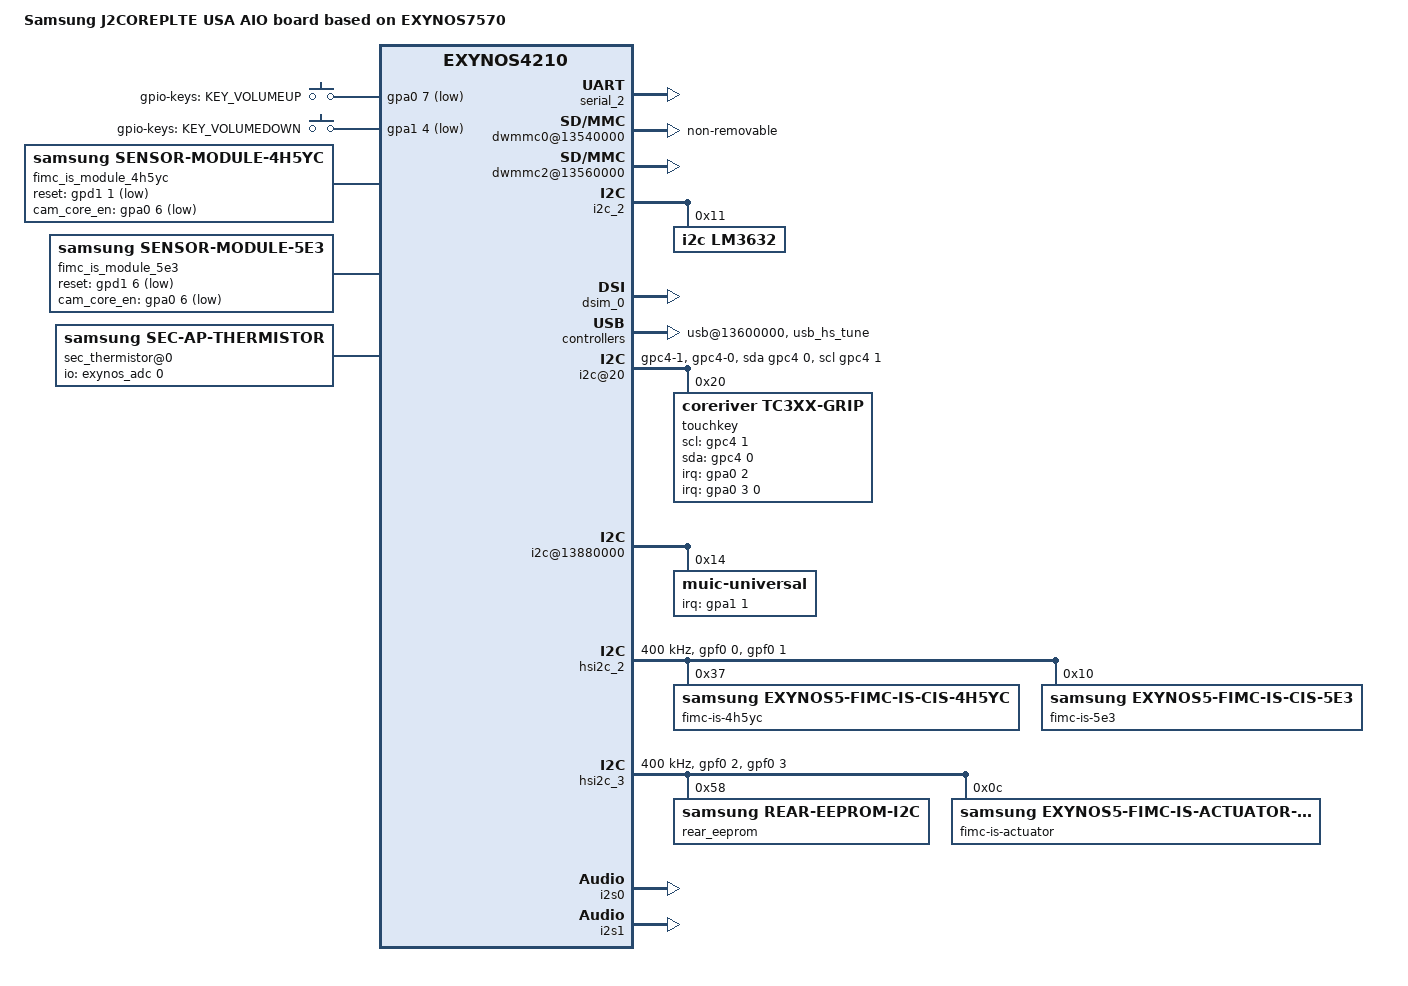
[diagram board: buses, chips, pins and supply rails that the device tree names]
/*
 * SAMSUNG UNIVERSAL7570 board device tree source
 *
 * Copyright (c) 2013 Samsung Electronics Co., Ltd.
 *		http://www.samsung.com
 *
 * This program is free software; you can redistribute it and/or modify
 * it under the terms of the GNU General Public License version 2 as
 * published by the Free Software Foundation.
*/

#include "exynos7570-rev01.dtsi"

/ {
	model = "Samsung J2COREPLTE USA AIO board based on EXYNOS7570";
	compatible = "samsung,exynos7570", "samsung,exynos4210";

	memory@40000000 {
		device_type = "memory";
		reg = <0x0 0x40000000 0x3E800000>;
	};

	memory@80000000 {
		device_type = "memory";
		reg = <0x0 0x80000000 0x40000000>;
	};

	chosen {
		bootargs = "console=ttySAC2,115200 clk_ignore_unused androidboot.hardware=samsungexynos7570 androidboot.selinux=disabled firmware_class.path=/vendor/firmware ess_setup=0x46000000 bcm_setup=0xffffff80f8e00000 androidboot.debug_level=0x4948 reserve-fimc=0";
		linux,initrd-start = <0x42000000>;
		linux,initrd-end = <0x421FFFFF>;
	};

	fixed-rate-clocks {
		oscclk {
			compatible = "samsung,exynos7570-oscclk";
			clock-frequency = <26000000>;
		};
	};

	serial_2: uart@13820000 {
		samsung,uart-logging;
		status = "okay";
	};

	firmware {
		android {
			compatible = "android,firmware";
			fstab {
				compatible = "android,fstab";
				system {
					compatible = "android,system";
					dev = "/dev/block/platform/13540000.dwmmc0/by-name/SYSTEM";
					type = "ext4";
					mnt_flags = "ro";
					fsmgr_flags = "wait,verify";
				};
				vendor {
					compatible = "android,vendor";
					dev = "/dev/block/platform/13540000.dwmmc0/by-name/VENDOR";
					type = "ext4";
					mnt_flags = "ro";
					fsmgr_flags = "wait,verify";
				};
				odm {
					compatible = "android,odm";
					dev = "/dev/block/platform/13540000.dwmmc0/by-name/ODM";
					type = "ext4";
					mnt_flags = "ro";
					fsmgr_flags = "wait,verify";
				};
			};
		};
	};

	dwmmc0@13540000 {
		status = "okay";
		num-slots = <1>;
		broken-card-detect;
		use-smu;
		fixed_voltage;
		supports-highspeed;
		clock-gate;
		mmc-ddr-1_8v;
		mmc-hs200-1_8v;
		mmc-hs400-1_8v;
		supports-8bit;
		supports-cmd23;
		supports-erase;
		enable-ulp-mode;
		supports-hs400-enhanced-strobe;
		pm-skip-mmc-resume-init;
		mmc_pwr_shut_down;
		card-init-hwacg-ctrl;
		fifo-depth = <0x40>;
		non-removable;
		desc-size = <4>;
		card-detect-delay = <200>;
		data-timeout = <200>;
		hto-timeout = <80>;
		clock-frequency = <700000000>;
		samsung,dw-mshc-ciu-div = <3>;
		samsung,dw-mshc-txdt-crc-timer-fastlimit = <0x34>;
		samsung,dw-mshc-txdt-crc-timer-initval = <0x38>;
		samsung,dw-mshc-ddr200-delay-line = <0x60>;
		samsung,dw-mshc-sdr-timing = <3 0 2 0>;
		samsung,dw-mshc-ddr-timing = <3 0 4 2>;
		samsung,dw-mshc-hs200-timing = <3 0 3 0>;
		samsung,dw-mshc-ddr200-timing = <1 0 4 0>;
		samsung,dw-mshc-ddr200-ulp-timing = <3 0 3 0>;

		num-ref-clks = <12>;
		ciu_clkin = <25 43 43 25 43 87 175 43 43 175 175 175>;

		/* Swapping clock drive strength */
		clk-drive-number = <4>;
		pinctrl-names = "default",
			"fast-slew-rate-1x",
			"fast-slew-rate-2x",
			"fast-slew-rate-3x",
			"fast-slew-rate-4x";
		pinctrl-0 = <&sd0_clk &sd0_cmd &sd0_rdqs &sd0_bus1 &sd0_bus4 &sd0_bus8>;
		pinctrl-1 = <&sd0_clk_fast_slew_rate_1x>;
		pinctrl-2 = <&sd0_clk_fast_slew_rate_2x>;
		pinctrl-3 = <&sd0_clk_fast_slew_rate_3x>;
		pinctrl-4 = <&sd0_clk_fast_slew_rate_4x>;
		slot@0 {
			reg = <0>;
			bus-width = <8>;
		};
	};

	dwmmc2@13560000 {
		status = "okay";
		num-slots = <1>;
		clock-gate;
		supports-highspeed;
		supports-4bit;
		supports-cmd23;
		supports-erase;
		sd-uhs-sdr50;
		sd-uhs-sdr104;
		card-detect-gpio;
		bypass-smu;
		only_once_tune;
		bypass-for-allpass;
		use-fine-tuning;
		skip-init-mmc-scan;
		card-init-hwacg-ctrl;
		switch_transfer;
		ignore-phase = <(1 << 7)>;
		fifo-depth = <0x40>;
		desc-size = <4>;
		card-detect-delay = <200>;
		data-timeout = <200>;
		hto-timeout = <80>;
		clock-frequency = <700000000>;
		samsung,dw-mshc-ciu-div = <3>;
		samsung,dw-mshc-sdr-timing = <3 0 2 0>;
		samsung,dw-mshc-ddr-timing = <3 0 2 1>;
		samsung,dw-mshc-sdr50-timing = <3 0 4 2>;
		samsung,dw-mshc-sdr104-timing = <3 0 3 0>;

		num-ref-clks = <9>;
		ciu_clkin = <25 43 43 25 43 87 175 43 43>;

		clk-drive-number = <4>;
		pinctrl-names = "default",
			"fast-slew-rate-1x",
			"fast-slew-rate-2x",
			"fast-slew-rate-3x",
			"fast-slew-rate-4x";
		pinctrl-0 = <&sd2_clk &sd2_cmd &sd2_bus1 &sd2_bus4 &dwmmc2_cd_ext_irq>;
		pinctrl-1 = <&sd2_clk_fast_slew_rate_1x>;
		pinctrl-2 = <&sd2_clk_fast_slew_rate_2x>;
		pinctrl-3 = <&sd2_clk_fast_slew_rate_3x>;
		pinctrl-4 = <&sd2_clk_fast_slew_rate_4x>;

		card-detect = <&gpa0 1 0xf>;
		sec-sd-slot-type = <1>; /* Hotplug SD slot */
		slot@0 {
			reg = <0>;
			bus-width = <4>;
			disable-wp;
		};
	};

	ion {
		compatible = "samsung,exynos5430-ion";
	};

	pinctrl@139C0000 {
		i2c2_bus: i2c2-bus {
			samsung,pins = "gpc2-1", "gpc2-0";
			samsung,pin-function = <2>;
			samsung,pin-pud = <0>;
			samsung,pin-drv = <0>;
		};
	};

	i2c_2: i2c@13890000 {
		status = "okay";
		samsung,i2c-max-bus-freq = <400000>;

		lm3632@11 {
			compatible = "i2c,lm3632";
			reg = <0x11>;
		};
	};

	decon_fb@14830000 {
		psr_mode = <0>; /* 0: video mode, 1: DP command mode, 2: MIPI command mode */
		/* vclk_mif = 200MHz */
		mif-vclk = <200000000>;
		/* vclk =  200MHz */
		disp-vclk = <200000000>;

		/* Target vclk 139.333Mhz */
		/* decon_divider_num = 1024 */
		vclk-num = <1024>;
		/* decon_divider_denom = 713 */
		vclk-denom = <713>;

		/* aclk = 208Mhz */
		disp-dvfs = <208000000>;
	};

	dsim_0: dsim@14800000 {
		lcd_info = <&td4101>;
		decon_board = <&decon_board>;
		status = "okay";

		/* number of data lanes in use */
		data_lane_cnt = <2>;
	};

	decon_board: decon_board {
		gpio_blic_on = <&gpc7 4 0x1>;
		gpio_panel_enp = <&gpa2 0 0x1>;
		gpio_panel_enn = <&gpa2 1 0x1>;
		gpio_lcd_rst = <&gpd2 0 0x1>;

		dsim_set_panel_power_early {
			type =
			"regulator,enable",	"LCD_1P8",
			"delay,usleep",	"10000 11000",
			"gpio,high",	"gpio_blic_on",
			"delay,usleep",	"5000 6000";
		};
		dsim_set_panel_power_enable {
			type =
			"delay,usleep",	"1000 2000",
			"gpio,high",	"gpio_panel_enp",
			"delay,usleep",	"1000 2000",
			"gpio,high",	"gpio_panel_enn",
			"delay,usleep",	"10000 11000";
		};
		dsim_set_panel_power_disable {
			type =
			"delay,usleep",	"5000 6000",
			"gpio,low",	"gpio_panel_enn",
			"delay,usleep",	"5000 6000",
			"gpio,low",	"gpio_panel_enp",
			"delay,usleep",	"15000 16000",
			"gpio,low",	"gpio_lcd_rst",
			"delay,usleep",	"5000 6000",
			"gpio,low",	"gpio_blic_on",
			"delay,usleep",	"10000 11000",
			"regulator,disable", "LCD_1P8";
		};
		dsim_reset_panel {
			type =
			"gpio,high",	"gpio_lcd_rst",
			"delay,usleep",	"1000 1100",
			"gpio,low",	"gpio_lcd_rst",
			"delay,usleep",	"1000 1100",
			"gpio,high",	"gpio_lcd_rst",
			"delay,msleep",	"130";
		};
	};

	td4101: td4101_qhd {
		mode = <0>; /* 0: video mode, 1: DP command mode, 2: MIPI command mode */
		panel_name = "td4101";
		resolution = <540 960>;
		dispif_resol = <540 960>;
		size = <62 110>;
		ddi_type = <0>;
		timing,refresh = <60>;

		/* dsim H porch : hbp, hfp, hsa */
		timing,dsim_h-porch = <40 364 4>;
		/* dsim V porch : VBP, VFP, VSA */
		timing,dsim_v-porch = <13 244 2>;

		/* decon H porch : hbp, hfp, hsa */
		timing,decon_h-porch = <40 1321 4>;
		/* decon V porch : VBP, VFP, VSA */
		timing,decon_v-porch = <13 244 2>;

		timing,dsi-hs-clk = <836>;
		timing,pms = <3 193 1>;
		timing,dsi-escape-clk = <16>;
		clklane_onoff = <1>;
	};

	usb@13600000 {
		status = "okay";

		dwc3 {
			dr_mode = "otg";
		};
	};

	usbphy@135c0000 {
		status = "okay";
		hs_tune_info = <&usb_hs_tune>;
		ss_tune_info = <&usb_ss_tune>;
	};

	usb_hs_tune:hs_tune {
		status = "okay";
		/* value = <device host> */
		tx_vref = <0x3 0x3>;
		tx_pre_emp = <0x0 0x0>;
		tx_pre_emp_puls = <0x0 0x0>;
		tx_res	= <0x2 0x2>;
		tx_rise = <0x1 0x1>;
		tx_hsxv = <0x0 0x0>;
		tx_fsls = <0x3 0x3>;
		rx_sqrx = <0x5 0x5>;
		compdis	= <0x3 0x3>;
		otg= <0x2 0x2>;
		/* true : 1, false: 0 */
		/* <enable_user_imp user_imp_value> */
		enable_user_imp = <0 0>;
		/* PHY clk : 1 , FREE clk : 0 */
		is_phyclock = <1>;
	};

	usb_ss_tune:ss_tune {
		status = "disabled";
		/* value = <device host> */
		tx_boost_level = <0x4 0x4>;
		tx_swing_level = <0x1 0x1>;
		tx_swing_full = <0x7F 0x7F>;
		tx_swing_low = <0x7F 0x7F>;
		tx_deemphasis_mode = <0x1 0x1>;
		tx_deemphasis_3p5db = <0x18 0x18>;
		tx_deemphasis_6db = <0x18 0x18>;
		enable_ssc = <0x1 0x1>;
		ssc_range = <0x0 0x1>;
		los_bias = <0x5 0x5>;
		los_mask_val = <0x104 0x104>;
		enable_fixed_rxeq_mode = <0x0 0x0>;
		fix_rxeq_value = <0x4 0x4>;
		set_crport_mpll_charge_pump = <0x0 0x0>;
		set_crport_level_en = <0x0 0x0>;
	};

	usb_notifier {
		compatible = "samsung,usb-notifier";
		udc = <&udc>;
	};

	tmuctrl_0: tmuctrl_CPUCL0@10130000 {
		compatible = "samsung,exynos7570-tmu";
		reg = <0x0 0x10130000 0x200>;
		interrupts = <0 435 0>;
		default_ptat_cont = <0x1>;
	};

	tmuctrl_1: tmuctrl_G3D@10130000 {
		compatible = "samsung,exynos7570-tmu";
		reg = <0x0 0x10130000 0x200>;
		interrupts = <0 435 0>;
		default_ptat_cont = <0x1>;

		/* gpu cooling related table */
		gpu_idx_num = <5>;
		/* flags, driver_data(index), frequency */
		gpu_cooling_table = < 0 0 830000
				      0 1 666000
				      0 2 553000
				      0 3 415000
				      0 4 TABLE_END>;
	};

	pinctrl@139F0000 {
		key_volup: key-volup {
			samsung,pins = "gpa0-7";
			samsung,pin-function = <0xf>;
			samsung,pin-pud = <3>;
			samsung,pin-drv = <0>;
		};

		key_voldown: key-voldown {
			samsung,pins = "gpa1-4";
			samsung,pin-function = <0xf>;
			samsung,pin-pud = <3>;
			samsung,pin-drv = <0>;
		};

		if_irq: if-irq {
			samsung,pins = "gpa0-5";
			samsung,pin-pud = <3>;
			samsung,pin-drv = <3>;
		};

		muic_irq: muic-irq {
			samsung,pins = "gpa1-1";
			samsung,pin-pud = <0>;
			samsung,pin-drv = <0>;
		};
	};

	usi_1: usi@101D3000 {
		usi_mode = "hsi2c1";
		status = "okay";
	};

	gpio_keys {
		compatible = "gpio-keys";
		pinctrl-names = "default";
		pinctrl-0 = <&key_voldown &key_volup>;
		#address-cells = <1>;
		#size-cells = <0>;
		gpio-key,wakeup_enable;
		button@1 {
			label = "gpio-keys: KEY_VOLUMEUP";
			interrupts = <7 0 0>;
			interrupt-parent = <&gpa0>;
			linux,code = <115>;
			gpios = <&gpa0 7 0xf>;
		};
		button@2 {
			label = "gpio-keys: KEY_VOLUMEDOWN";
			interrupts = <4 0 0>;
			interrupt-parent = <&gpa1>;
			linux,code = <114>;
			gpios = <&gpa1 4 0xf>;
		};
	};

	pinctrl@148C0000 {
		i2s_pmic_bus: i2s-pmic-bus {
			samsung,pins = "gpz1-0", "gpz1-2", "gpz1-3";
			samsung,pin-function = <2>;
			samsung,pin-pud = <1>;
			samsung,pin-drv = <0>;
		};

		i2s_pmic_bus_idle: i2s-pmic-bus-idle {
			samsung,pins = "gpz1-0", "gpz1-2", "gpz1-3";
			samsung,pin-function = <0>;
			samsung,pin-pud = <1>;
			samsung,pin-drv = <0>;
		};
	};

	pinctrl@139B0000 {
		cfg_i2c: cfg-i2c {
			samsung,pins = "gpc4-1", "gpc4-0";
			samsung,pin-function = <2>;
			samsung,pin-pud = <1>;
			samsung,pin-drv = <0>;
		};
		cfg_gpio: cfg-gpio {
			samsung,pins = "gpc4-1", "gpc4-0";
			samsung,pin-function = <0>;
			samsung,pin-pud = <1>;
			samsung,pin-drv = <0>;
		};
	};

	/* TSP */
	pinctrl@139D0000 {
		attn_input: attn-input {
			samsung,pins = "gpc3-2";
			samsung,pin-function = <0>;
			samsung,pin-pud = <0>;
			samsung,pin-drv = <0>;
		};
		attn_irq: attn-irq {
			samsung,pins = "gpc3-2";
			samsung,pin-function = <0xf>;
			samsung,pin-pud = <0>;
			samsung,pin-drv = <0>;
		};
		i2c3_bus: i2c3-bus {
			samsung,pins = "gpc3-1", "gpc3-0";
			samsung,pin-function = <2>;
			samsung,pin-pud = <0>;
			samsung,pin-drv = <0>;
		};
	};

	pinctrl@139F0000 {
		grip_irq: tkey-irq {
			samsung,pins = "gpa0-2";
			samsung,pin-function = <0xf>;
			samsung,pin-pud = <0>;
			samsung,pin-drv = <0>;
		};
		grip_input: tkey-input {
			samsung,pins = "gpa0-2";
			samsung,pin-function = <0>;
			samsung,pin-pud = <0>;
			samsung,pin-drv = <0>;
		};
	};

	i2c@20 {
		compatible = "i2c-gpio";
		gpios = <&gpc4 0 0
				&gpc4 1 0>;
		i2c-gpio,delay-us = <5>;
		pinctrl-names = "default","on_i2c","off_i2c";
		pinctrl-0 = <&cfg_i2c>;
		pinctrl-1 = <&cfg_i2c>;
		pinctrl-2 = <&cfg_gpio>;
		#address-cells = <1>;
		#size-cells = <0>;
		touchkey@20 {
			pinctrl-names = "default","on_irq","off_irq";
			pinctrl-0 = <&grip_irq>;
			pinctrl-1 = <&grip_irq>;
			pinctrl-2 = <&grip_input>;
			compatible = "coreriver,tc3xx-grip";
			reg = <0x20>;
			interrupts = <3 0 0>;
			interrupt-parent = <&gpa0>;
			coreriver,scl-gpio = <&gpc4 1 0>;
			coreriver,sda-gpio = <&gpc4 0 0>;
			coreriver,irq-gpio = <&gpa0 2 0>;
			coreriver,i2c-gpio = "true";
			coreriver,boot-on-ldo = "true";
			coreriver,regulator_ic = "vtouch_2.2v";
			coreriver,fw_name = "coreriver/tc305k_j2core_grip.fw";
			coreriver,sensing_ch_num = <0x4>;
			coreriver,tsk_ic_num = <0x1>; /* tc300k : 0x00, tc350k : 0x01 */
			coreriver,use_bitmap = <1>;
		};
	};

	pinctrl@139B0000 {
		sensor_i2c: sensor_i2c {
			samsung,pins = "gpc4-3", "gpc4-2";
			samsung,pin-function = <2>;
			samsung,pin-pud = <3>;
			samsung,pin-drv = <2>;
		};
	};

	pinctrl@139F0000 {
		acc_int: acc_int {
			samsung,pins = "gpa0-4";
			samsung,pin-function = <0>;
			samsung,pin-pud = <0>;
			samsung,pin-drv = <0>;
		};

		prox_int: prox_int {
			samsung,pins = "gpa1-0";
			samsung,pin-function = <0>;
			samsung,pin-pud = <0>;
			samsung,pin-drv = <0>;
		};
	};

	i2c@13880000 {
		status = "okay";

		muic-universal@14 {
			status = "okay";
			compatible = "muic-universal";
			reg = <0x14>;
			pinctrl-names = "default";
			pinctrl-0 = <&muic_irq>;
			muic-universal,chip_name = "sm,sm5504";
			muic-universal,irq-gpio = <&gpa1 1 0>;
		};
	};

	muic {
		status = "okay";
		muic,support-list = "+OTG:GND",
					"-MHL:1K",
					"-VZW Accessory:28.7K",
					"-VZW Incompatible:34K",
					"-Smartdock:40.2K",
					"-HMT:49.9K",
					"-Audiodock:64.9K",
					"-USB LANHUB:80.07K",
					"-Charging Cable:102K",
					"-Universal Multimedia dock:121K",
					"+Jig USB Off:255K",
					"+Jig USB On:301K",
					"+Deskdock:365K",
					"+TYPE2 Charger:442K",
					"+Jig UART Off:523K",
					"+Jig UART On:619K",
					"+TA:OPEN",
					"+USB:OPEN",
					"+CDP:OPEN",
					"+DCD Timeout:OPEN",
					"+Undefined Charging:XXX";
		/*muic,otg_en = /bits/ 8 <0x1>;*/
	};

	fimc_is@14400000 {
		vender {
			rear_sensor_id = <24>; /* SENSOR_NAME_S5K4H5YC */
			front_sensor_id = <17>; /* SENSOR_NAME_S5K5E3 */
			use_module_check;

			total_camera_num = <2>;
			camera_info0 {				// 0 : rear
				isp = <0>;			/* 0 : INT , 1 : EXT , 2 : SOC */
				cal_memory = <2>;		/* 0 : N , 1 : FROM , 2 : EEPROM , 3 : OTP  */
				read_version = <0>;		/* 0 : SYSFS , 1 : CAMON */

				core_voltage = <0>;		/* 0 : N , 1 : Y  */
				upgrade = <0>;			/* 0 : N , 1 : SYSFS , 2 : CAMON */
				companion = <0>;		/* 0 : N , 1 : Y  */
				ois = <0>;			/* 0 : N , 1 : Y  */
			};
			camera_info1 {				// 1 : front
				isp = <0>;			/* 0 : INT , 1 : EXT , 2 : SOC */
				cal_memory = <3>;		/* 0 : N , 1 : FROM , 2 : EEPROM , 3 : OTP  */
				read_version = <0>;		/* 0 : SYSFS , 1 : CAMON */

				core_voltage = <0>;		/* 0 : N , 1 : Y  */
				upgrade = <0>;			/* 0 : N , 1 : SYSFS , 2 : CAMON */
				companion = <0>;		/* 0 : N , 1 : Y  */
				ois = <0>;			/* 0 : N , 1 : Y  */
			};
		};

		fimc_is_dvfs {
			#define DVFS_INT_L0 467000
			#define DVFS_INT_L1 415000

			#define DVFS_CAM_L0 666000
			#define DVFS_CAM_L1 554000
			#define DVFS_CAM_L2 444000

			#define DVFS_MIF_L0 830000
			#define DVFS_MIF_L1 700000
			#define DVFS_MIF_L2 666000
			#define DVFS_MIF_L3 415000

			table0 {
				desc = "HAL1 version";

				default_int = <DVFS_INT_L0>;
				default_cam = <DVFS_CAM_L1>;
				default_mif = <DVFS_MIF_L0>;
				default_i2c = <0>;

				front_preview_int = <DVFS_INT_L0>;
				front_preview_cam = <DVFS_CAM_L2>;
				front_preview_mif = <DVFS_MIF_L0>;
				front_preview_i2c = <0>;

				front_capture_int = <DVFS_INT_L0>;
				front_capture_cam = <DVFS_CAM_L2>;
				front_capture_mif = <DVFS_MIF_L0>;
				front_capture_i2c = <0>;

				front_video_int = <DVFS_INT_L0>;
				front_video_cam = <DVFS_CAM_L2>;
				front_video_mif = <DVFS_MIF_L0>;
				front_video_i2c = <0>;

				front_video_capture_int = <DVFS_INT_L0>;
				front_video_capture_cam = <DVFS_CAM_L2>;
				front_video_capture_mif = <DVFS_MIF_L0>;
				front_video_capture_i2c = <0>;

				front_vt1_int = <DVFS_INT_L0>;
				front_vt1_cam = <DVFS_CAM_L2>;
				front_vt1_mif = <DVFS_MIF_L0>;
				front_vt1_i2c = <0>;

				front_vt2_int = <DVFS_INT_L0>;
				front_vt2_cam = <DVFS_CAM_L2>;
				front_vt2_mif = <DVFS_MIF_L0>;
				front_vt2_i2c = <0>;

				rear_preview_int = <DVFS_INT_L0>;
				rear_preview_cam = <DVFS_CAM_L1>;
				rear_preview_mif = <DVFS_MIF_L0>;
				rear_preview_i2c = <0>;

				rear_capture_int = <DVFS_INT_L0>;
				rear_capture_cam = <DVFS_CAM_L1>;
				rear_capture_mif = <DVFS_MIF_L0>;
				rear_capture_i2c = <0>;

				rear_video_int = <DVFS_INT_L0>;
				rear_video_cam = <DVFS_CAM_L1>;
				rear_video_mif = <DVFS_MIF_L0>;
				rear_video_i2c = <0>;

				rear_video_capture_int = <DVFS_INT_L0>;
				rear_video_capture_cam = <DVFS_CAM_L1>;
				rear_video_capture_mif = <DVFS_MIF_L0>;
				rear_video_capture_i2c = <0>;

				preview_high_speed_fps_int = <DVFS_INT_L0>;
				preview_high_speed_fps_cam = <DVFS_CAM_L1>;
				preview_high_speed_fps_mif = <DVFS_MIF_L0>;
				preview_high_speed_fps_i2c = <0>;

				video_high_speed_60fps_int = <DVFS_INT_L0>;
				video_high_speed_60fps_cam = <DVFS_CAM_L1>;
				video_high_speed_60fps_mif = <DVFS_MIF_L0>;
				video_high_speed_60fps_i2c = <0>;

				video_high_speed_120fps_int = <DVFS_INT_L0>;
				video_high_speed_120fps_cam = <DVFS_CAM_L1>;
				video_high_speed_120fps_mif = <DVFS_MIF_L0>;
				video_high_speed_120fps_i2c = <0>;

				max_int = <DVFS_INT_L0>;
				max_cam = <DVFS_CAM_L0>;
				max_mif = <DVFS_MIF_L0>;
				max_i2c = <0>;
			};

			table1 {
				desc = "HAL3 version";

				default_int = <DVFS_INT_L0>;
				default_cam = <DVFS_CAM_L1>;
				default_mif = <DVFS_MIF_L0>;
				default_i2c = <0>;

				front_preview_int = <DVFS_INT_L0>;
				front_preview_cam = <DVFS_CAM_L2>;
				front_preview_mif = <DVFS_MIF_L0>;
				front_preview_i2c = <0>;

				front_capture_int = <DVFS_INT_L0>;
				front_capture_cam = <DVFS_CAM_L2>;
				front_capture_mif = <DVFS_MIF_L0>;
				front_capture_i2c = <0>;

				front_video_int = <DVFS_INT_L0>;
				front_video_cam = <DVFS_CAM_L2>;
				front_video_mif = <DVFS_MIF_L0>;
				front_video_i2c = <0>;

				front_video_capture_int = <DVFS_INT_L0>;
				front_video_capture_cam = <DVFS_CAM_L2>;
				front_video_capture_mif = <DVFS_MIF_L0>;
				front_video_capture_i2c = <0>;

				front_vt1_int = <DVFS_INT_L0>;
				front_vt1_cam = <DVFS_CAM_L2>;
				front_vt1_mif = <DVFS_MIF_L0>;
				front_vt1_i2c = <0>;

				front_vt2_int = <DVFS_INT_L0>;
				front_vt2_cam = <DVFS_CAM_L2>;
				front_vt2_mif = <DVFS_MIF_L0>;
				front_vt2_i2c = <0>;

				rear_preview_int = <DVFS_INT_L0>;
				rear_preview_cam = <DVFS_CAM_L1>;
				rear_preview_mif = <DVFS_MIF_L0>;
				rear_preview_i2c = <0>;

				rear_capture_int = <DVFS_INT_L0>;
				rear_capture_cam = <DVFS_CAM_L1>;
				rear_capture_mif = <DVFS_MIF_L0>;
				rear_capture_i2c = <0>;

				rear_video_int = <DVFS_INT_L0>;
				rear_video_cam = <DVFS_CAM_L1>;
				rear_video_mif = <DVFS_MIF_L0>;
				rear_video_i2c = <0>;

				rear_video_capture_int = <DVFS_INT_L0>;
				rear_video_capture_cam = <DVFS_CAM_L1>;
				rear_video_capture_mif = <DVFS_MIF_L0>;
				rear_video_capture_i2c = <0>;

				preview_high_speed_fps_int = <DVFS_INT_L0>;
				preview_high_speed_fps_cam = <DVFS_CAM_L1>;
				preview_high_speed_fps_mif = <DVFS_MIF_L0>;
				preview_high_speed_fps_i2c = <0>;

				video_high_speed_60fps_int = <DVFS_INT_L0>;
				video_high_speed_60fps_cam = <DVFS_CAM_L1>;
				video_high_speed_60fps_mif = <DVFS_MIF_L0>;
				video_high_speed_60fps_i2c = <0>;

				video_high_speed_120fps_int = <DVFS_INT_L0>;
				video_high_speed_120fps_cam = <DVFS_CAM_L1>;
				video_high_speed_120fps_mif = <DVFS_MIF_L0>;
				video_high_speed_120fps_i2c = <0>;

				max_int = <DVFS_INT_L0>;
				max_cam = <DVFS_CAM_L0>;
				max_mif = <DVFS_MIF_L0>;
				max_i2c = <0>;
			};
		};
	};

	fimc_is_module_4h5yc: fimc-is_sensor_4h5yc@37 {
		compatible = "samsung,sensor-module-4h5yc";

		pinctrl-names = "pin0", "pin1", "pin2";
		pinctrl-0 = <>;
		pinctrl-1 = <&fimc_is_mclk0_in &fimc_is_flash>;
		pinctrl-2 = <&fimc_is_mclk0_fn &fimc_is_flash>;

		position = <0>; /* Rear:0. Front:1 */
		id = <0>; /* sensor node id */
		mclk_ch = <0>;
		sensor_i2c_ch = <0>; /* I2C 0 */
		sensor_i2c_addr = <0x6E>;

		gpio_reset = <&gpd1 1 0x1>; /* sensor reset */
		gpio_cam_core_en = <&gpa0 6 0x1>; /* CAM_LDO_EN */
		status = "okay";

		af {
			product_name = <13>; /* DW9807 */
			i2c_addr = <0x0C>;
			i2c_ch = <1>; /* I2C 0 */
		};

		/* TODO : need to update */
		flash {
			product_name = <13>; /* FLASH_I2C */
			flash_first_gpio = <2>;
			flash_second_gpio = <1>;
		};
	};

	fimc_is_module_5e3: fimc-is_sensor_5e3@10 {
		compatible = "samsung,sensor-module-5e3";

		pinctrl-names = "pin0", "pin1", "pin2";
		pinctrl-0 = <>;
		pinctrl-1 = <&fimc_is_mclk0_in>;
		pinctrl-2 = <&fimc_is_mclk0_fn>;

		position = <1>; /* Rear:0. Front:1 */
		id = <1>; /* sensor node id */
		mclk_ch = <0>;
		sensor_i2c_ch = <0>;
		sensor_i2c_addr = <0x10>;

		gpio_reset = <&gpd1 6 0x1>;
		gpio_cam_core_en = <&gpa0 6 0x1>; /* CAM_LDO_EN */
		status = "okay";
	};

	hsi2c_2: hsi2c@138A0000 {
		 gpios = <&gpf0 0 0 &gpf0 1 0>;
		 status = "okay";
		 clock-frequency = <400000>;

		 pinctrl-names = "default", "on_i2c";
		 pinctrl-0 = <&hs_i2c2_bus>;
		 pinctrl-1 = <&hs_i2c2_bus>;

		fimc-is-4h5yc@37 {
			compatible = "samsung,exynos5-fimc-is-cis-4h5yc";
			reg = <0x37>;
			id = <0>; /* matching sensor id */
			sensor_f_number = <4>; /* f number 2.2 */
			setfile = "default";
		};

		fimc-is-5e3@10 {
			compatible = "samsung,exynos5-fimc-is-cis-5e3";
			reg = <0x10>; /* 1 bit right shift */
			id = <1>; /* matching sensor id */
			sensor_f_number = <4>; /* f number 2.2 */
			setfile = "default";
		};
	};

	hsi2c_3: hsi2c@138C0000 {
		gpios = <&gpf0 2 0 &gpf0 3 0>;
		status = "okay";
		clock-frequency = <400000>;

		pinctrl-names = "default", "on_i2c";
		pinctrl-0 = <&hs_i2c3_bus>;
		pinctrl-1 = <&hs_i2c3_bus>;

		rear_eeprom@58 {
			compatible = "samsung,rear-eeprom-i2c";
			reg = <0x58>;
		};

		fimc-is-actuator@0C {
			 compatible = "samsung,exynos5-fimc-is-actuator-dw9807";
			 reg = <0x0C>;
			 id = <0>; /* matching sensor id */
		};
	};

	#define SENSOR_SCENARIO_NORMAL      0
	#define SENSOR_SCENARIO_VISION      1
	#define SENSOR_SCENARIO_EXTERNAL    2
	#define SENSOR_SCENARIO_OIS_FACTORY 3
	#define SENSOR_SCENARIO_VIRTUAL     9
	#define FLITE_ID_NOTHING 100

	fimc_is_sensor0: fimc_is_sensor0@14420000 {
		scenario = <SENSOR_SCENARIO_NORMAL>;    /* Normal, Vision, OIS etc */
		id = <0>;
		csi_ch = <0>;
		flite_ch = <0>;
		is_bns = <1>;
		status = "okay";
	};

	fimc_is_sensor1: fimc_is_sensor1@14420000 {
		scenario = <SENSOR_SCENARIO_NORMAL>;    /* Normal, Vision, OIS etc */
		id = <1>;
		csi_ch = <0>;
		flite_ch = <0>;
		is_bns = <1>;
		status = "okay";
	};

	exynos_rgt {
		compatible = "samsung,exynos-rgt";
	};

	but_zones: but_zones {
		#list-but-cells = <3>;
	};

	speedy@10510000 {
		status = "okay";

		audio_codec_cod9002x: cod9002x@03 {
			compatible = "codec,cod9002x";
			reg = <0x03>;
			i2c-speedy-address;
			vdd-supply = <&ldo13_reg>;
			pinctrl-names = "default";
			mic-bias1-voltage = <1>;
			mic-bias2-voltage = <1>;
			mic-bias-ldo-voltage = <3>;
			use-btn-adc-mode;
			use-jack-pullup-mode;
			jack-out-dbnc-time = <0x08>;
			io-channels = <&exynos_adc 2>;
			io-channel-names = "adc-jack";
			#io-channel-cells = <1>;
			io-channel-ranges;
			but-zones-list = <&but_zones 226 0 260>,
				<&but_zones 582 261 336>,
				<&but_zones 115 337 532>,
				<&but_zones 114 533 1105>;
			mic-adc-range = <1340>;
			btn-press-delay = <0>;
		};

		s2mpu06mfd@00 {
			compatible = "samsung,s2mpu06mfd";
			reg = <0x00>;
			pinctrl-names = "default";
			pinctrl-0 = <&if_irq>;
			s2mpu06,wakeup = "enabled";
			s2mpu06,irq-gpio = <&gpa0 5 0>;

			i2c-speedy-address;
			cache_data = <1>;

			/* RTC: wtsr/smpl */
			wtsr_en = "enabled"; /* enable */
			smpl_en = "enabled"; /* enable */
			wtsr_timer_val = <3>;   /* 1000ms */
			smpl_timer_val = <4>;   /* 500ms */
			check_jigon = <0>; /* do not check jigon */
			/* RTC: If it's first boot, reset rtc to 1/1/2018 12:00:00(Mon) */
			init_time,sec = <0>;
			init_time,min = <0>;
			init_time,hour = <12>;
			init_time,mday = <1>;
			init_time,mon = <0>;
			init_time,year = <118>;
			init_time,wday = <1>;

			samsung,codec-interrupt = <&audio_codec_cod9002x>;
			s2mpu06-keys {
				button@1 {
					label = "pmic-keys: KEY_POWER";
					linux,code = <116>;
					wakeup = <1>;
				};
			};

			regulators {
				buck1_reg: BUCK1 {
					regulator-name = "BUCK1";
					regulator-min-microvolt = <500000>;
					regulator-max-microvolt = <1300000>;
					regulator-always-on;
					regulator-boot-on;
					regulator-ramp-delay = <12000>;
					regulator-initial-mode = <1>;
					regulator-expected-consumer = <6>;
				};

				buck2_reg: BUCK2 {
					regulator-name = "BUCK2";
					regulator-min-microvolt = <800000>;
					regulator-max-microvolt = <2800000>;
					regulator-always-on;
					regulator-boot-on;
					regulator-ramp-delay = <12000>;
					regulator-initial-mode = <3>;
				};

				buck3_reg: BUCK3 {
					regulator-name = "BUCK3";
					regulator-min-microvolt = <800000>;
					regulator-max-microvolt = <2800000>;
					regulator-always-on;
					regulator-boot-on;
					regulator-ramp-delay = <12000>;
					regulator-initial-mode = <3>;
				};

				ldo1_reg: LDO1 {
					regulator-name = "vdd_ldo1";
					regulator-min-microvolt = <500000>;
					regulator-max-microvolt = <1300000>;
					regulator-always-on;
					regulator-boot-on;
					regulator-ramp-delay = <12000>;
					regulator-initial-mode = <1>;
				};

				ldo2_reg: LDO2 {
					regulator-name = "vdd_ldo2";
					regulator-min-microvolt = <1500000>;
					regulator-max-microvolt = <2000000>;
					regulator-boot-on;
					regulator-always-on;
					regulator-ramp-delay = <12000>;
					regulator-initial-mode = <3>;
				};

				ldo3_reg: LDO3 {
					regulator-name = "vdd_ldo3";
					regulator-min-microvolt = <800000>;
					regulator-max-microvolt = <1500000>;
					regulator-boot-on;
					regulator-always-on;
					regulator-ramp-delay = <12000>;
					regulator-initial-mode = <3>;
				};

				ldo4_reg: LDO4 {
					regulator-name = "vqmmc";
					regulator-min-microvolt = <1700000>;
					regulator-max-microvolt = <3350000>;
					regulator-ramp-delay = <12000>;
					regulator-initial-mode = <0>;
				};

				ldo5_reg: LDO5 {
					regulator-name = "vdd_ldo5";
					regulator-min-microvolt = <1700000>;
					regulator-max-microvolt = <3350000>;
					regulator-boot-on;
					regulator-always-on;
					regulator-ramp-delay = <12000>;
					regulator-initial-mode = <3>;
				};

				ldo6_reg: LDO6 {
					regulator-name = "vdd_ldo6";
					regulator-min-microvolt = <500000>;
					regulator-max-microvolt = <1300000>;
					regulator-boot-on;
					regulator-always-on;
					regulator-ramp-delay = <12000>;
					regulator-initial-mode = <3>;
				};

				ldo7_reg: LDO7 {
					regulator-name = "vdd_ldo7";
					regulator-min-microvolt = <800000>;
					regulator-max-microvolt = <1300000>;
					regulator-boot-on;
					regulator-always-on;
					regulator-ramp-delay = <12000>;
					regulator-initial-mode = <1>;
				};

				ldo8_reg: LDO8 {
					regulator-name = "vdd_ldo8";
					regulator-min-microvolt = <1800000>;
					regulator-max-microvolt = <3375000>;
					regulator-boot-on;
					regulator-always-on;
					regulator-ramp-delay = <12000>;
					regulator-initial-mode = <1>;
				};

				ldo13_reg: LDO13 {
					regulator-name = "vdd_ldo13";
					regulator-min-microvolt = <800000>;
					regulator-max-microvolt = <2000000>;
					regulator-ramp-delay = <12000>;
					regulator-always-on;
					regulator-boot-on;
					regulator-initial-mode = <3>;
				};

				ldo14_reg: LDO14 {
					regulator-name = "vemmc";
					regulator-min-microvolt = <1800000>;
					regulator-max-microvolt = <3375000>;
					regulator-ramp-delay = <12000>;
					regulator-initial-mode = <0>;
				};

				ldo15_reg: LDO15 {
					regulator-name = "vqemmc";
					regulator-min-microvolt = <800000>;
					regulator-max-microvolt = <2000000>;
					regulator-ramp-delay = <12000>;
					regulator-initial-mode = <0>;
				};

				ldo16_reg: LDO16 {
					regulator-name = "VDD_MOTOR_3P3";
					regulator-min-microvolt = <3300000>;
					regulator-max-microvolt = <3300000>;
					regulator-ramp-delay = <12000>;
					regulator-initial-mode = <0>;
				};

				ldo17_reg: LDO17 {
					regulator-name = "VDD18_CAM_SENSOR_IO";
					regulator-min-microvolt = <1800000>;
					regulator-max-microvolt = <1800000>;
					regulator-ramp-delay = <12000>;
					regulator-initial-mode = <0>;
				};

				ldo18_reg: LDO18 {
					regulator-name = "VDD28_CAM_AF";
					regulator-min-microvolt = <2800000>;
					regulator-max-microvolt = <2800000>;
					regulator-ramp-delay = <12000>;
					regulator-initial-mode = <0>;
				};

				ldo19_reg: LDO19 {
					regulator-name = "vtouch_2.2v";
					regulator-min-microvolt = <2200000>;
					regulator-max-microvolt = <2200000>;
					regulator-boot-on;
				};

				ldo20_reg: LDO20 {
					regulator-name = "LCD_1P8";
					regulator-min-microvolt = <1800000>;
					regulator-max-microvolt = <1800000>;
					regulator-boot-on;
					regulator-initial-mode = <3>;
				};

				ldo21_reg: LDO21 {
					regulator-name = "vdd_ldo21";
					regulator-min-microvolt = <1800000>;
					regulator-max-microvolt = <3375000>;
					regulator-ramp-delay = <12000>;
					regulator-initial-mode = <0>;
				};

				ldo22_reg: LDO22 {
					regulator-name = "vdd_ldo22";
					regulator-min-microvolt = <1800000>;
					regulator-max-microvolt = <3375000>;
					regulator-always-on;
					regulator-ramp-delay = <12000>;
					regulator-initial-mode = <3>;
				};

				ldo23_reg: LDO23 {
					regulator-name = "vdd_ldo23";
					regulator-min-microvolt = <1200000>;
					regulator-max-microvolt = <1200000>;
					regulator-ramp-delay = <12000>;
					regulator-always-on;
					regulator-boot-on;
					regulator-initial-mode = <1>;
				};

				ldo24_reg: LDO24 {
					regulator-name = "AVDD24_CAM_2P8";
					regulator-min-microvolt = <2800000>;
					regulator-max-microvolt = <2800000>;
					regulator-ramp-delay = <12000>;
					regulator-initial-mode = <0>;
				};
			};
		};

		fimc_is_flash@06 {
			compatible = "samsung,sensor-flash-i2c";
			reg = <0x06>;
			id = <0>;
			flash-gpio = <&gpa0 0 0>;
			flash_current = <1000>;
			preflash_current = <160>;
			movie_current = <160>;
			torch_current = <80>;
			factory_current = <160>;
			torch_level1 = <0>;	/* S2PMU06 TORCH_ISET Value 0000(0) : 20mA */
			torch_level2 = <1>;	/* S2PMU06 TORCH_ISET Value 0001(1) : 40mA */
			torch_level3 = <3>;	/* S2PMU06 TORCH_ISET Value 0010(3) : 80mA */
			torch_level4 = <5>;	/* S2PMU06 TORCH_ISET Value 0011(5) : 120A */
			torch_level5 = <8>;	/* S2PMU06 TORCH_ISET Value 0110(8) : 180mA */
			i2c-speedy-address;
		};
	};

	exynos-pm {
		compatible = "samsung,exynos-pm";
		reg = <0x0 0x139F0000 0x1000>,
		      <0x0 0x104E1200 0x100>;
		reg-names = "gpio_alive_base",
			    "gicd_ispendrn_base";
		num-eint = <24>;
		num-gic = <16>;
		suspend_mode_idx = <8>;		/* SYS_SLEEP */
		suspend_psci_idx = <131>;	/* PSCI_SYSTEM_SLEEP */
		cp_call_mode_idx = <4>;		/* SYS_LPD */
		cp_call_psci_idx = <132>;	/* PSCI_SYSTEM_CP_CALL */
	};

	acpm: acpm@11C88000 {
		compatible = "samsung,exynos-acpm";
		#address-cells = <2>;
		#size-cells = <1>;
		reg = <0x0 0x11C88000 0x1000>;

		log_base = <0x02047700>;
		time_len = <32>;
		log_buff_size = <16>;
		log_buff_len = <380>;
		debug_logging_level = <0>;
		logging_period = <500>;

		dump_base = <0x02046000>;
		dump_size = <0x3800>;

		plugins {
			framework {
				attach = <2>;
				id = <0>;
				acpm-ipc-channel = <&framework_ch>;
			};
		};
	};

	acpm_ipc: acpm_ipc@11C00000 {
		compatible = "samsung,exynos-acpm-ipc";
		#address-cells = <2>;
		#size-cells = <1>;

		interrupts = <0 22 0>;
		reg = <0x0 0x11C00000 0x1000>;

		channels {
			polling = <1>;
			max_buff_size = <0x300>;
			framework_ch: framework@0x02047400 {
				channel_id = <0>;
				rx_buff = <0x02047400>;
				tx_buff = <0x02047480>;
				buff_size = <12>;
				buff_len = <8>;
				direction_buff = <412>;
			};
		};
	};

	pinctrl@139C0000 {
		fm_lna_en: fm-lna-en {
			samsung,pins = "gpc2-2";
			samsung,pin-function = <1>;
			samsung,pin-pud = <0>;
			samsung,pin-val = <0>;
		};
	};

	fm_gpio: fm@14840000 {
		elna_gpio = <&gpc2 2 0x1>; /* FM_LNA_EN */
		pinctrl-names = "default";
		pinctrl-0 = <&fm_lna_en>;
		fm_iclk_aux = <0>;
		fm_tc_on = <0>;
		status = "okay";
	};

	s1403x: s1403x@14880000 {
		pinctrl-names = "default", "idle";
		pinctrl-0 = <&i2s_pmic_bus
			&i2s_codec_clk>;
		pinctrl-1 = <&i2s_pmic_bus_idle>;
		status = "okay";
	};

	i2s_dummy: dummy-i2s {
		compatible = "samsung,dummy-i2s";
		status = "okay";
	};

	i2s0: i2s@148A0000 {
		status = "okay";
	};

	i2s1: i2s@148B0000 {
		status = "okay";
	};

	audio_cp_dummy: cp_dummy {
		compatible = "samsung,cp_dummy";
		status = "okay";
	};

	audio_fm_dummy: fm_dummy {
		compatible = "samsung,fm_dummy";
		status = "okay";
	};

	audio_bt_dummy: bt_dummy {
		compatible = "samsung,bt_dummy";
		status = "okay";
	};

	audio_codec_dummy: dummy-codec {
		compatible = "samsung,dummy-codec";
		status = "okay";
	};

	sound {
		compatible = "samsung,universal7570-cod9002x";
		samsung,audio-cpu = <&i2s0 /* primary */
			&i2s0              /* secondary */
			&audio_cp_dummy
			&audio_bt_dummy
			&audio_fm_dummy
			&i2s1             /*AMP for AP */
			&audio_cp_dummy   /*AMP for CP */
			&eax
			&eax
			&eax
			&eax>;
		samsung,audio-codec = <&audio_codec_cod9002x
			&audio_codec_cod9002x
			&audio_codec_cod9002x
			&audio_codec_dummy
			&audio_codec_cod9002x
			&audio_codec_dummy
			&audio_codec_dummy
			&audio_codec_cod9002x
			&audio_codec_cod9002x
			&audio_codec_cod9002x
			&audio_codec_cod9002x>;

		samsung,auxdev = <&s1403x>;
		mic-bias-mode = <1 1 2 0>;
		status = "okay";
	};

	sec_thermistor@0 {
		compatible = "samsung,sec-ap-thermistor";
		status = "okay";

		adc_array = <285 296 306 317 327 338 350 361 373 384
				396 408 420 433 445 457 474 491 508 525
				541 563 584 605 626 648 668 690 711 732
				753 776 798 822 844 868 898 928 958 988
				1018 1051 1084 1117 1150 1183 1217 1251 1286 1320
				1354 1395 1435 1476 1516 1557 1603 1649 1696 1743
				1789 1831 1874 1917 1959 2001 2049 2097 2145 2194
				2242 2291 2340 2389 2437 2485 2531 2576 2622 2667
				2713 2755 2797 2838 2880 2922 2965 3007 3050 3092
				3135 3168 3201 3235 3268 3301 3330 3360 3389 3419
				3448 3470 3492 3514 3536 3558 3582 3607 3631 3656 3680>;
		temp_array = <900 890 880 870 860 850 840 830 820 810
					   800 790 780 770 760 750 740 730 720 710
					   700 690 680 670 660 650 640 630 620 610
					   600 590 580 570 560 550 540 530 520 510
					   500 490 480 470 460 450 440 430 420 410
					   400 390 380 370 360 350 340 330 320 310
					   300 290 280 270 260 250 240 230 220 210
					   200 190 180 170 160 150 140 130 120 110
					   100 90 80 70 60 50 40 30 20 10
					   0 (-10) (-20) (-30) (-40) (-50) (-60) (-70) (-80) (-90)
					   (-100) (-110) (-120) (-130) (-140) (-150) (-160) (-170) (-180) (-190) (-200)>;
		io-channels = <&exynos_adc 0>;
		io-channel-names = "adc-ap-temp";
		io-channel-ranges;
	};

	argos {
		compatible = "samsung,argos";
		#address-cells = <1>;
		/*  The device number should be assigned for each device, e.g. "boot_device@1" and "boot_device@2".
		    Duplicated number is not allowed. Please refer the below example. */

		/* Table Format should be
		 * <Throughput(Mbps) CPU_min CPU_max MIF INT Task IRQ>
		 * CPU_min : CPU minimum frequency lock. 0 means not set,
		 * CPU_max : CPU maximum frequency lock. 0 means not set,
		 * MIF : MIF frequency lock. 0 means not set,
		 * INT : INT frequency lock. 0 means not set,
		 * Task : 1 - Set task affinity lock.
		 *        0 - Not set or unlock,
		 *              Task affinity should be predefined driver's code.
		 * IRQ : 1 - Set irq affinity lock.
		 *       0 - Not set or unlock,
		 *              Task affinity should be predefined driver's code.
		 */

		boot_device@1 {
			net_boost,label="IPC";
			net_boost,node="rmnet0 rmnet1 rmnet2 rmnet3 rmnet4 rmnet5 rmnet6 rmnet7 umts_dm0";
			net_boost,table_size = <4>;
			net_boost,table= <  1 0 0 0 0 0 1
					   20 829000 0 416000 100000 0 1
					   50 1040000 0 825000 100000 0 1
					  100 1430000 0 825000 100000 0 1>;
		};

		boot_device@2 {
			net_boost,label="USB";
			net_boost,node="rndis0";
			net_boost,table_size = <1>;
			net_boost,table= < 1 0 0 0 0 0 1 >;
		};

		boot_device@3 {
			net_boost,label="P2P";
			net_boost,node="p2p-wlan0-0";
			net_boost,table_size = <3>;
			net_boost,table= <
				30 1274000 0 415000 0 0 0
				50 1378000 0 415000 0 0 0
				90 1378000 0 666000 0 1 1
				>;
		};
		boot_device@4 {
			net_boost,label="WIFI";
			net_boost,node="wlan0";
			net_boost,table_size = <3>;
			net_boost,table= <
				10 1040000 0 415000 0 0 0
				60 1378000 0 666000 0 1 1
				120 1378000 0 666000 0 1 1
				>;
		 };
		/*
		boot_device@5 {
			net_boost,label="CLAT";
			net_boost,node="clat clat4 v4-rmnet0 v4-rmnet1 v4-rmnet2 v4-rmnet3 v4-rmnet4 v4-rmnet5 v4-rmnet6 v4-rmnet7";
			net_boost,table_size = <3>;
			net_boost,table= <120 0 0 825000 0 0 0
				130 0 0 825000 0 0 0
				150 0 0 825000 0 0 0>;
		};
		*/
	};

	input_booster {
		status = "okay";
		compatible = "input_booster";
		#address-cells = <1>;
		#size-cells = <0>;

		booster_key@1 {
			input_booster,label = "KEY";
			input_booster,type = <0>;	/* BOOSTER_DEVICE_KEY */

			input_booster,levels = <1>;

			/* Frequency table */
			/* for level	:	1_Head */
			input_booster,cpu_freqs = <1274000>;
			input_booster,hmp_boost = <0>;
			input_booster,kfc_freqs = <1274000>;
			input_booster,mif_freqs = <0>;
			input_booster,int_freqs = <0>;

			/* Time table */
			input_booster,head_times = <500>;
			input_booster,tail_times = <500>;
			input_booster,phase_times = <0>;
		};
		booster_key@2 {
			input_booster,label = "TOUCHKEY";
			input_booster,type = <1>;	/* BOOSTER_DEVICE_TOUCHKEY */

			input_booster,levels = <1>;

			/* Frequency table */
			/* for level	:	1_Head */
			input_booster,cpu_freqs = <1274000>;
			input_booster,hmp_boost = <0>;
			input_booster,kfc_freqs = <1274000>;
			input_booster,mif_freqs = <0>;
			input_booster,int_freqs = <0>;

			/* Time table */
			input_booster,head_times = <0>;
			input_booster,tail_times = <300>;
			input_booster,phase_times = <0>;
		};
		booster_key@3 {
			input_booster,label = "TOUCH";
			input_booster,type = <2>;	/* BOOSTER_DEVICE_TOUCH */

			input_booster,levels = <1 2 3>;

			/* Frequency table */
			/* for level	:	1_Head, 2_Head, 2_Tail */
			input_booster,cpu_freqs = <1274000 1274000 962000>;
			input_booster,hmp_boost = <0 0 0>;
			input_booster,kfc_freqs = <1274000 1274000 962000>;
			input_booster,mif_freqs = <0 0 0>;
			input_booster,int_freqs = <0 0 0>;

			/* Time table */
			input_booster,head_times = <200 200 0>;
			input_booster,tail_times = <0 0 300>;
			input_booster,phase_times = <0 0 0>;
		};
		booster_key@4 { // Input Booster +
			input_booster,label = "MULTITOUCH";
			input_booster,type = <3>;	/* BOOSTER_DEVICE_MULTITOUCH */

			input_booster,levels = <1 2>;

			/* Frequency table */
			/* for level	:	1_Head 2_Tail*/
			input_booster,cpu_freqs = <1378000 1040000>;
			input_booster,hmp_boost = <0 0>;
			input_booster,kfc_freqs = <1378000 1040000>;
			input_booster,mif_freqs = <0 0>;
			input_booster,int_freqs = <0 0>;

			/* Time table */
			input_booster,head_times = <1000 0>;
			input_booster,tail_times = <0 500>;
			input_booster,phase_times = <0 0>;
		};
		booster_key@5 {
			input_booster,label = "KEYBOARD";
			input_booster,type = <4>;	/* BOOSTER_DEVICE_KEYBOARD */

			input_booster,levels = <1 2>;

			/* Frequency table */
			/* for level	:	1_Head 2_Tail*/
			input_booster,cpu_freqs = <1274000 1274000>;
			input_booster,hmp_boost = <0 0>;
			input_booster,kfc_freqs = <1274000 1274000>;
			input_booster,mif_freqs = <0 0>;
			input_booster,int_freqs = <0 0>;

			/* Time table */
			input_booster,head_times = <200 200>;
			input_booster,tail_times = <0 0>;
			input_booster,phase_times = <0 0>;
		};
		booster_key@6 {
			input_booster,label = "MOUSE";
			input_booster,type = <5>;	/* BOOSTER_DEVICE_MOUSE */

			input_booster,levels = <1 2>;

			/* Frequency table */
			/* for level	:	1_Head 2_Tail*/
			input_booster,cpu_freqs = <1274000 962000>;
			input_booster,hmp_boost = <0 0>;
			input_booster,kfc_freqs = <1274000 962000>;
			input_booster,mif_freqs = <0 0>;
			input_booster,int_freqs = <0 0>;

			/* Time table */
			input_booster,head_times = <200 0>;
			input_booster,tail_times = <0 300>;
			input_booster,phase_times = <0 0>;
		};
		booster_key@7 {
			input_booster,label = "MOUSE WHEEL";
			input_booster,type = <6>;	/* BOOSTER_DEVICE_MOUSE */

			input_booster,levels = <1 2>;

			/* Frequency table */
			/* for level	:	1_Head 2_Tail*/
			input_booster,cpu_freqs = <1274000 0>;
			input_booster,hmp_boost = <0 0>;
			input_booster,kfc_freqs = <1274000 0>;
			input_booster,mif_freqs = <0 0>;
			input_booster,int_freqs = <0 0>;

			/* Time table */
			input_booster,head_times = <200 0>;
			input_booster,tail_times = <0 0>;
			input_booster,phase_times = <0 0>;
		};
		booster_key@8 {
			input_booster,label = "PEN & HOVER";
			input_booster,type = <7>;	/* BOOSTER_DEVICE_PEN & HOVER */

			input_booster,levels = <1 2>;

			/* Frequency table */
			/* for level	:	1_Head 2_Tail*/
			input_booster,cpu_freqs = <1274000 962000>;
			input_booster,hmp_boost = <0 0>;
			input_booster,kfc_freqs = <1274000 962000>;
			input_booster,mif_freqs = <0 0>;
			input_booster,int_freqs = <0 0>;

			/* Time table */
			input_booster,head_times = <200 0>;
			input_booster,tail_times = <0 300>;
			input_booster,phase_times = <0 0>;
		};
		booster_key@9 {
			input_booster,label = "GAMEPAD";
			input_booster,type = <8>;	/* BOOSTER_DEVICE_GAMEPAD */

			input_booster,levels = <1 2>;

			/* Frequency table */
			/* for level	:	1_Head 2_Tail*/
			input_booster,cpu_freqs = <1378000 829000>;
			input_booster,hmp_boost = <0 0>;
			input_booster,kfc_freqs = <1378000 829000>;
			input_booster,mif_freqs = <0 0>;
			input_booster,int_freqs = <0 0>;

			/* Time table */
			input_booster,head_times = <200 0>;
			input_booster,tail_times = <0 300>;
			input_booster,phase_times = <0 0>;
		}; // Input Booster -
		/* If you need to add new key type, add it this position */
	};

	/* Change MIF max freq for only 2MIC mode */
	devfreq_0: devfreq_mif@17000010 {
		   /* initial_freq, default_qos, suspend_freq, min_freq, max_freq, reboot_freq */
		   freq_info = <666000 415000 415000 415000 830000 415000>;
	};
};
